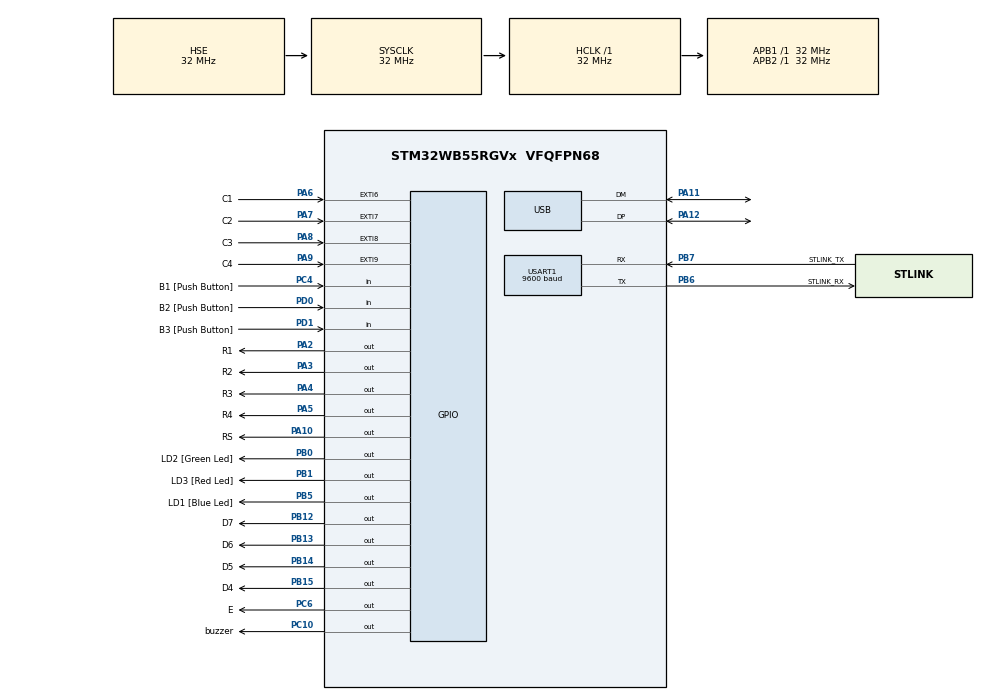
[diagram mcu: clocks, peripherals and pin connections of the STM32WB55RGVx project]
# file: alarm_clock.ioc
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Mcu.Family=STM32WB
Mcu.Name=STM32WB55RGVx
Mcu.Package=VFQFPN68
NVIC.EXTI9_5_IRQn=true\:0\:0\:false\:false\:true\:true\:true\:true
NVIC.PriorityGroup=NVIC_PRIORITYGROUP_4
NVIC.RTC_Alarm_IRQn=true\:0\:0\:false\:false\:true\:true\:true\:true
OSC_IN.Mode=HSE-External-Oscillator
OSC_IN.Signal=RCC_OSC_IN
OSC_OUT.Mode=HSE-External-Oscillator
OSC_OUT.Signal=RCC_OSC_OUT
PA10.GPIO_Label=RS
PA10.PinState=GPIO_PIN_RESET
PA10.Signal=GPIO_Output
PA11.Mode=Device
PA11.Signal=USB_DM
PA12.Mode=Device
PA12.Signal=USB_DP
PA13.GPIO_Label=JTMS
PA13.Mode=Trace_Asynchronous_SW
PA13.Signal=SYS_JTMS-SWDIO
PA14.GPIO_Label=JTCK
PA14.Mode=Trace_Asynchronous_SW
PA14.Signal=SYS_JTCK-SWCLK
PA2.GPIO_Label=R1
PA2.PinState=GPIO_PIN_SET
PA2.Signal=GPIO_Output
PA3.GPIO_Label=R2
PA3.PinState=GPIO_PIN_SET
PA3.Signal=GPIO_Output
PA4.GPIO_Label=R3
PA4.PinState=GPIO_PIN_SET
PA4.Signal=GPIO_Output
PA5.GPIO_Label=R4
PA5.PinState=GPIO_PIN_SET
PA5.Signal=GPIO_Output
PA6.GPIO_Label=C1
PA6.GPIO_PuPd=GPIO_PULLDOWN
PA6.Signal=GPXTI6
PA7.GPIO_Label=C2
PA7.GPIO_PuPd=GPIO_PULLDOWN
PA7.Signal=GPXTI7
PA8.GPIO_Label=C3
PA8.GPIO_PuPd=GPIO_PULLDOWN
PA8.Signal=GPXTI8
PA9.GPIO_Label=C4
PA9.GPIO_PuPd=GPIO_PULLDOWN
PA9.Signal=GPXTI9
PB0.GPIO_Label=LD2 [Green Led]
PB0.Signal=GPIO_Output
PB1.GPIO_Label=LD3 [Red Led]
PB1.Signal=GPIO_Output
PB12.GPIO_Label=D7
PB12.PinState=GPIO_PIN_RESET
PB12.Signal=GPIO_Output
PB13.GPIO_Label=D6
PB13.PinState=GPIO_PIN_RESET
PB13.Signal=GPIO_Output
PB14.GPIO_Label=D5
PB14.PinState=GPIO_PIN_RESET
PB14.Signal=GPIO_Output
PB15.GPIO_Label=D4
PB15.PinState=GPIO_PIN_RESET
PB15.Signal=GPIO_Output
PB3.GPIO_Label=JTDO
PB3.Mode=Trace_Asynchronous_SW
PB3.Signal=SYS_JTDO-SWO
PB5.GPIO_Label=LD1 [Blue Led]
PB5.Signal=GPIO_Output
PB6.GPIO_Label=STLINK_RX
PB6.GPIO_PuPd=GPIO_PULLUP
PB6.Mode=Asynchronous
PB6.Signal=USART1_TX
PB7.GPIO_Label=STLINK_TX
PB7.GPIO_PuPd=GPIO_PULLUP
PB7.Mode=Asynchronous
PB7.Signal=USART1_RX
PC10.GPIO_Label=buzzer
PC10.PinState=GPIO_PIN_RESET
PC10.Signal=GPIO_Output
PC13.Mode=SYS_WakeUp1
PC13.Signal=SYS_WKUP2
PC14-OSC32_IN.Mode=LSE-External-Oscillator
PC14-OSC32_IN.Signal=RCC_OSC32_IN
PC15-OSC32_OUT.Mode=LSE-External-Oscillator
PC15-OSC32_OUT.Signal=RCC_OSC32_OUT
PC4.GPIO_Label=B1 [Push Button]
PC4.Signal=GPIO_Input
PC6.GPIO_Label=E
PC6.PinState=GPIO_PIN_RESET
PC6.Signal=GPIO_Output
PD0.GPIO_Label=B2 [Push Button]
PD0.Signal=GPIO_Input
PD1.GPIO_Label=B3 [Push Button]
PD1.Signal=GPIO_Input
ProjectManager.HeapSize=0x200
ProjectManager.StackSize=0x400
ProjectManager.TargetToolchain=Makefile
RCC.ADCFreq_Value=48000000
RCC.AHBFreq_Value=32000000
RCC.APB1Freq_Value=32000000
RCC.APB1TimFreq_Value=32000000
RCC.APB2Freq_Value=32000000
RCC.APB2TimFreq_Value=32000000
RCC.APB3Freq_Value=16000000
RCC.CortexFreq_Value=32000000
RCC.HCLKFreq_Value=32000000
RCC.HSE_VALUE=32000000
RCC.HSI48_VALUE=48000000
RCC.HSI_VALUE=16000000
RCC.LSE_Drive_Capability=RCC_LSEDRIVE_LOW
RCC.PLLN=32
RCC.PLLSAI1N=24
RCC.SMPSCLockSelectionVirtual=RCC_SMPSCLKSOURCE_HSI
RCC.SMPSCLockSelectionVirtualVirtual=RCC_SMPSCLKSOURCE_HSI
RCC.SMPSDivider=1
RCC.SYSCLKFreq_VALUE=32000000
RCC.SYSCLKSource=RCC_SYSCLKSOURCE_HSE
RCC.USBFreq_Value=48000000
RCC.VCOOutputFreq_Value=128000000
RTC.Alarm-Alarm\ A=RTC_ALARM_A
RTC.AlarmDateWeekDaySel-Alarm\ A=RTC_ALARMDATEWEEKDAYSEL_DATE
RTC.AlarmMaskDateWeekDay-Alarm\ A=RTC_ALARMMASK_DATEWEEKDAY
RTC.HourFormat=RTC_HOURFORMAT_24
RTC.Minutes_A-Alarm\ A=2
TIM1.Period=0xffff-1
TIM1.Prescaler=31
USART1.BaudRate=9600
USART1.VirtualMode-Asynchronous=VM_ASYNC
USART1.WordLength=WORDLENGTH_8B
VP_RTC_VS_RTC_Activate.Mode=RTC_Enabled
VP_RTC_VS_RTC_Alarm_A_Intern.Mode=Alarm A
VP_RTC_VS_RTC_Calendar.Mode=RTC_Calendar
VP_TIM1_VS_ClockSourceINT.Mode=Internal
board=P-NUCLEO-WB55-NUCLEO

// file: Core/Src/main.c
/* USER CODE BEGIN Header */
/**
  ******************************************************************************
  * @file           : main.c
  * @brief          : Main program body
  ******************************************************************************
  * @attention
  *
  * Copyright (c) 2023 STMicroelectronics.
  * All rights reserved.
  *
  * This software is licensed under terms that can be found in the LICENSE file
  * in the root directory of this software component.
  * If no LICENSE file comes with this software, it is provided AS-IS.
  *
  ******************************************************************************
  */
/* USER CODE END Header */
#include "main.h"
#include "rtc.h"
#include "tim.h"
#include "usart.h"
#include "usb.h"
#include "gpio.h"

/* USER CODE BEGIN Includes */
#include <stdio.h>
#include <stdlib.h>
#include <string.h>
/* USER CODE END Includes */

/* USER CODE BEGIN PV */
GPIO_InitTypeDef myGPIO_InitStruct = {0};
uint32_t previousTimeInms = 0;
uint32_t currentTimeInms = 0;
uint8_t keyPressed = 0;
RTC_TimeTypeDef sTime;
RTC_DateTypeDef sDate;
RTC_AlarmTypeDef sAlarm = {0};
int state = 0b00000000;
int i = 0;
int alarmFlag = 0;
/* USER CODE END PV */

void SystemClock_Config(void);
void PeriphCommonClock_Config(void);
/* USER CODE BEGIN PFP */
void send_to_lcd (char data, int rs);
void lcd_send_cmd (char cmd);
void lcd_send_data (char data);
void lcd_put_cur(int row, int col);
void lcd_init (void);
void lcd_send_string (char *str);
void lcd_clear (void);
void delay (uint16_t us);
int convertASCIItoInt(char one, char two);
/* USER CODE END PFP */

int main(void)
{
  /* USER CODE BEGIN 1 */
  char msg[32];
  char input[4];
  /* USER CODE END 1 */

  /* MCU Configuration--------------------------------------------------------*/

  /* Reset of all peripherals, Initializes the Flash interface and the Systick. */
  HAL_Init();

  /* Configure the system clock */
  SystemClock_Config();

/* Configure the peripherals common clocks */
  PeriphCommonClock_Config();

  /* Initialize all configured peripherals */
  MX_GPIO_Init();
  MX_USART1_UART_Init();
  MX_USB_PCD_Init();
  MX_RTC_Init();
  MX_TIM1_Init();
  /* USER CODE BEGIN 2 */
  HAL_GPIO_WritePin(R1_GPIO_Port, R1_Pin, 1);
  HAL_GPIO_WritePin(R2_GPIO_Port, R2_Pin, 1);
  HAL_GPIO_WritePin(R3_GPIO_Port, R3_Pin, 1);
  HAL_GPIO_WritePin(R4_GPIO_Port, R4_Pin, 1);

  lcd_init();
  HAL_Delay(1);

  HAL_RTC_DeactivateAlarm(&hrtc, RTC_ALARM_A);

  /* USER CODE END 2 */

  /* Infinite loop */
  while (1)
  {

    /* USER CODE BEGIN 3 */

    //Enter Current Time State
    while(state == 0b00000000){
      if(i == 0){
        lcd_clear();
        HAL_Delay(1);
        sprintf(msg, "Enter Current");
        lcd_send_string(msg);
        lcd_put_cur(1, 0);
        HAL_Delay(1);
        sprintf(msg, "24hr:  Hr  Min");
        lcd_send_string(msg);
        HAL_Delay(1);
        i++;
      }

      if (keyPressed){
        if(i<3)
          lcd_put_cur(1, 4+i);
        else
          lcd_put_cur(1, 6+i);
        HAL_Delay(1);
        sprintf(msg, "%c", keyPressed);
        lcd_send_string(msg);
        HAL_Delay(1);
        input[i-1] = keyPressed;
        keyPressed = 0;
        i++;
      }
      if(i == 5){
        state = 0b00000001; // Next State is Check Current Time State
        i = 0;
      }
    }
    // Check Current Time State
    while(state == 0b00000001){
      if(i == 0){
        lcd_clear();
        HAL_Delay(1);
        sprintf(msg, "Time: %c%cHr %c%cMin",input[0],input[1],input[2],input[3]);
        lcd_send_string(msg);
        lcd_put_cur(1, 0);
        HAL_Delay(1);
        sprintf(msg, "Correct? Y-1 N-2");
        lcd_send_string(msg);
        i++;
      }
      if (keyPressed){
        if (keyPressed == 49){
          sTime.Hours = convertASCIItoInt(input[0], input[1]);
          sTime.Minutes = convertASCIItoInt(input[2], input[3]);
          sTime.Seconds = 0;
          HAL_RTC_SetTime(&hrtc,&sTime,RTC_FORMAT_BIN);
          state = 0b00000010; // Next State is Display Current Time State
          i = 0;
        }
        else if(keyPressed == 50){
          state = 0b00000000; // Next State is Enter Current Time State
          i = 0;
        }

        keyPressed = 0;
      }
    }
    // Display Current Time State
    while(state == 0b00000010){
      if(i == 0){
        lcd_clear();
        HAL_Delay(1);
        lcd_put_cur(1, 0);
        HAL_Delay(1);
        sprintf(msg, "Set Alm-1 Time-2" );
        lcd_send_string(msg);
        i++;
      }
      // Refresh Time Periodically for the Display
      lcd_put_cur(0, 0);
      HAL_Delay(1);
      HAL_RTC_GetTime(&hrtc, &sTime, RTC_FORMAT_BIN);
      HAL_RTC_GetDate(&hrtc, &sDate, RTC_FORMAT_BIN);
      HAL_RTC_GetAlarm(&hrtc,&sAlarm,RTC_ALARM_A,RTC_FORMAT_BIN);
      if(alarmFlag == 1)
        sprintf(msg,"Time:%02d.%02d.%02d %s",sTime.Hours,sTime.Minutes,sTime.Seconds, "ON");
      else
        sprintf(msg,"Time:%02d.%02d.%02d %s",sTime.Hours,sTime.Minutes,sTime.Seconds, "  ");
      lcd_send_string(msg);
      HAL_Delay(1);

      if (keyPressed){
        if (keyPressed == 49){
          state = 0b00000100; // Next State is Alarm Set State
          i = 0;
        }
        else if(keyPressed == 50){
          state = 0b00000000; // Next State is Enter Current Time State
          i = 0;
        }
        keyPressed = 0;
      }
    }
    // Alarm Set State
    while(state == 0b00000100){
      if(i == 0){
        lcd_clear();
        HAL_Delay(1);
        sprintf(msg, "Enter Alarm Time");
        lcd_send_string(msg);
        lcd_put_cur(1, 0);
        HAL_Delay(1);
        sprintf(msg, "24hr:  Hr  Min");
        lcd_send_string(msg);
        i++;
      }

      if (keyPressed){
        if(i<3)
          lcd_put_cur(1, 4+i);
        else
          lcd_put_cur(1, 6+i);
        HAL_Delay(1);
        sprintf(msg, "%c", keyPressed);
        lcd_send_string(msg);
        HAL_Delay(1);
        input[i-1] = keyPressed;
        keyPressed = 0;
        i++;
      }
      if(i == 5){
        state = 0b00001000; // Next State is Check Alarm Check State
        i = 0;
      }
    }
    // Alarm Check State
    while(state == 0b00001000){
      if(i == 0){
        lcd_clear();
        HAL_Delay(1);
        sprintf(msg, "Time: %c%cHr %c%cMin",input[0],input[1],input[2],input[3]);
        lcd_send_string(msg);
        lcd_put_cur(1, 0);
        HAL_Delay(1);
        sprintf(msg, "Correct? Y-1 N-2");
        lcd_send_string(msg);
        i++;
      }
      if (keyPressed){
        if (keyPressed == 49){
          sAlarm.AlarmTime.Hours = convertASCIItoInt(input[0], input[1]);
          sAlarm.AlarmTime.Minutes = convertASCIItoInt(input[2], input[3]);
          sAlarm.Alarm = RTC_ALARM_A;
          HAL_RTC_DeactivateAlarm(&hrtc, RTC_ALARM_A);
          HAL_RTC_SetAlarm_IT(&hrtc,&sAlarm,RTC_FORMAT_BIN);
          //HAL_RTC_
          state = 0b00000010; // Next State is Display Current Time State
          i = 0;
          alarmFlag = 1;
        }
        else if(keyPressed == 50){
          state = 0b00000100; // Next State is Enter Alarm Time State
          i = 0;
        }

        keyPressed = 0;
      }
    }
    // Alarm State
    while(state == 0b00010000){
      if(i == 0){
        lcd_clear();
        HAL_Delay(1);
        sprintf(msg, "Press Any Button" );
        lcd_send_string(msg);
        HAL_Delay(1);
        lcd_put_cur(1, 0);
        HAL_Delay(1);
        sprintf(msg, "to Disable" );
        lcd_send_string(msg);
        HAL_Delay(1);
        i++;
      }
      HAL_GPIO_WritePin(buzzer_GPIO_Port,buzzer_Pin, 1); // Turn on Buzzer

      if (keyPressed){
        state = 0b00000010; // Next State is Display Current Time State
        keyPressed = 0;
        HAL_GPIO_WritePin(buzzer_GPIO_Port,buzzer_Pin, 0); // Turn off Buzzer
        i = 0;
      }
    }

  }
  /* USER CODE END 3 */
}

void SystemClock_Config(void)
{
  RCC_OscInitTypeDef RCC_OscInitStruct = {0};
  RCC_ClkInitTypeDef RCC_ClkInitStruct = {0};

  /** Macro to configure the PLL multiplication factor
  */
  __HAL_RCC_PLL_PLLM_CONFIG(RCC_PLLM_DIV1);

  /** Macro to configure the PLL clock source
  */
  __HAL_RCC_PLL_PLLSOURCE_CONFIG(RCC_PLLSOURCE_MSI);

  /** Configure LSE Drive Capability
  */
  HAL_PWR_EnableBkUpAccess();
  __HAL_RCC_LSEDRIVE_CONFIG(RCC_LSEDRIVE_LOW);

  /** Configure the main internal regulator output voltage
  */
  __HAL_PWR_VOLTAGESCALING_CONFIG(PWR_REGULATOR_VOLTAGE_SCALE1);

  /** Initializes the RCC Oscillators according to the specified parameters
  * in the RCC_OscInitTypeDef structure.
  */
  RCC_OscInitStruct.OscillatorType = RCC_OSCILLATORTYPE_HSI|RCC_OSCILLATORTYPE_LSI1
                              |RCC_OSCILLATORTYPE_HSE|RCC_OSCILLATORTYPE_LSE
                              |RCC_OSCILLATORTYPE_MSI;
  RCC_OscInitStruct.HSEState = RCC_HSE_ON;
  RCC_OscInitStruct.LSEState = RCC_LSE_ON;
  RCC_OscInitStruct.HSIState = RCC_HSI_ON;
  RCC_OscInitStruct.MSIState = RCC_MSI_ON;
  RCC_OscInitStruct.HSICalibrationValue = RCC_HSICALIBRATION_DEFAULT;
  RCC_OscInitStruct.MSICalibrationValue = RCC_MSICALIBRATION_DEFAULT;
  RCC_OscInitStruct.MSIClockRange = RCC_MSIRANGE_6;
  RCC_OscInitStruct.LSIState = RCC_LSI_ON;
  RCC_OscInitStruct.PLL.PLLState = RCC_PLL_NONE;
  if (HAL_RCC_OscConfig(&RCC_OscInitStruct) != HAL_OK)
  {
    Error_Handler();
  }

  /** Configure the SYSCLKSource, HCLK, PCLK1 and PCLK2 clocks dividers
  */
  RCC_ClkInitStruct.ClockType = RCC_CLOCKTYPE_HCLK4|RCC_CLOCKTYPE_HCLK2
                              |RCC_CLOCKTYPE_HCLK|RCC_CLOCKTYPE_SYSCLK
                              |RCC_CLOCKTYPE_PCLK1|RCC_CLOCKTYPE_PCLK2;
  RCC_ClkInitStruct.SYSCLKSource = RCC_SYSCLKSOURCE_HSE;
  RCC_ClkInitStruct.AHBCLKDivider = RCC_SYSCLK_DIV1;
  RCC_ClkInitStruct.APB1CLKDivider = RCC_HCLK_DIV1;
  RCC_ClkInitStruct.APB2CLKDivider = RCC_HCLK_DIV1;
  RCC_ClkInitStruct.AHBCLK2Divider = RCC_SYSCLK_DIV1;
  RCC_ClkInitStruct.AHBCLK4Divider = RCC_SYSCLK_DIV1;

  if (HAL_RCC_ClockConfig(&RCC_ClkInitStruct, FLASH_LATENCY_1) != HAL_OK)
  {
    Error_Handler();
  }

  /** Enable MSI Auto calibration
  */
  HAL_RCCEx_EnableMSIPLLMode();
}

void PeriphCommonClock_Config(void)
{
  RCC_PeriphCLKInitTypeDef PeriphClkInitStruct = {0};

  /** Initializes the peripherals clock
  */
  PeriphClkInitStruct.PeriphClockSelection = RCC_PERIPHCLK_SMPS;
  PeriphClkInitStruct.SmpsClockSelection = RCC_SMPSCLKSOURCE_HSI;
  PeriphClkInitStruct.SmpsDivSelection = RCC_SMPSCLKDIV_RANGE0;

  if (HAL_RCCEx_PeriphCLKConfig(&PeriphClkInitStruct) != HAL_OK)
  {
    Error_Handler();
  }
}

/* USER CODE BEGIN 4 */
void HAL_GPIO_EXTI_Callback(uint16_t GPIO_Pin)
{
  currentTimeInms = HAL_GetTick();
  if (currentTimeInms - previousTimeInms > 100) {
    myGPIO_InitStruct.Pin = C1_Pin|C2_Pin|C3_Pin|C4_Pin;
    myGPIO_InitStruct.Mode = GPIO_MODE_INPUT;
    myGPIO_InitStruct.Pull = GPIO_PULLDOWN;
    myGPIO_InitStruct.Speed = GPIO_SPEED_FREQ_LOW;
    HAL_GPIO_Init(GPIOA, &myGPIO_InitStruct);

    HAL_GPIO_WritePin(R1_GPIO_Port, R1_Pin, 1);
    HAL_GPIO_WritePin(R2_GPIO_Port, R2_Pin, 0);
    HAL_GPIO_WritePin(R3_GPIO_Port, R3_Pin, 0);
    HAL_GPIO_WritePin(R4_GPIO_Port, R4_Pin, 0);

    if(GPIO_Pin == C1_Pin && HAL_GPIO_ReadPin(C1_GPIO_Port, C1_Pin))
    {
      keyPressed = 49; //ASCII value of 1
    }
    else if(GPIO_Pin == C2_Pin && HAL_GPIO_ReadPin(C2_GPIO_Port, C2_Pin))
    {
      keyPressed = 50; //ASCII value of 2
    }
    else if(GPIO_Pin == C3_Pin && HAL_GPIO_ReadPin(C3_GPIO_Port, C3_Pin))
    {
      keyPressed = 51; //ASCII value of 3
    }
    else if(GPIO_Pin == C4_Pin && HAL_GPIO_ReadPin(C4_GPIO_Port, C4_Pin))
    {
      keyPressed = 65; //ASCII value of A
    }

    HAL_GPIO_WritePin(R1_GPIO_Port, R1_Pin, 0);
    HAL_GPIO_WritePin(R2_GPIO_Port, R2_Pin, 1);
    HAL_GPIO_WritePin(R3_GPIO_Port, R3_Pin, 0);
    HAL_GPIO_WritePin(R4_GPIO_Port, R4_Pin, 0);

    if(GPIO_Pin == C1_Pin && HAL_GPIO_ReadPin(C1_GPIO_Port, C1_Pin))
    {
      keyPressed = 52; //ASCII value of 4
    }
    else if(GPIO_Pin == C2_Pin && HAL_GPIO_ReadPin(C2_GPIO_Port, C2_Pin))
    {
      keyPressed = 53; //ASCII value of 5
    }
    else if(GPIO_Pin == C3_Pin && HAL_GPIO_ReadPin(C3_GPIO_Port, C3_Pin))
    {
      keyPressed = 54; //ASCII value of 6
    }
    else if(GPIO_Pin == C4_Pin && HAL_GPIO_ReadPin(C4_GPIO_Port, C4_Pin))
    {
      keyPressed = 66; //ASCII value of B
    }

    HAL_GPIO_WritePin(R1_GPIO_Port, R1_Pin, 0);
    HAL_GPIO_WritePin(R2_GPIO_Port, R2_Pin, 0);
    HAL_GPIO_WritePin(R3_GPIO_Port, R3_Pin, 1);
    HAL_GPIO_WritePin(R4_GPIO_Port, R4_Pin, 0);

    if(GPIO_Pin == C1_Pin && HAL_GPIO_ReadPin(C1_GPIO_Port, C1_Pin))
    {
      keyPressed = 55; //ASCII value of 7
    }
    else if(GPIO_Pin == C2_Pin && HAL_GPIO_ReadPin(C2_GPIO_Port, C2_Pin))
    {
      keyPressed = 56; //ASCII value of 8
    }
    else if(GPIO_Pin == C3_Pin && HAL_GPIO_ReadPin(C3_GPIO_Port, C3_Pin))
    {
      keyPressed = 57; //ASCII value of 9
    }
    else if(GPIO_Pin == C4_Pin && HAL_GPIO_ReadPin(C4_GPIO_Port, C4_Pin))
    {
      keyPressed = 67; //ASCII value of C
    }

    HAL_GPIO_WritePin(R1_GPIO_Port, R1_Pin, 0);
    HAL_GPIO_WritePin(R2_GPIO_Port, R2_Pin, 0);
    HAL_GPIO_WritePin(R3_GPIO_Port, R3_Pin, 0);
    HAL_GPIO_WritePin(R4_GPIO_Port, R4_Pin, 1);

    if(GPIO_Pin == C1_Pin && HAL_GPIO_ReadPin(C1_GPIO_Port, C1_Pin))
    {
      keyPressed = 42; //ASCII value of *
    }
    else if(GPIO_Pin == C2_Pin && HAL_GPIO_ReadPin(C2_GPIO_Port, C2_Pin))
    {
      keyPressed = 48; //ASCII value of 0
    }
    else if(GPIO_Pin == C3_Pin && HAL_GPIO_ReadPin(C3_GPIO_Port, C3_Pin))
    {
      keyPressed = 35; //ASCII value of #
    }
    else if(GPIO_Pin == C4_Pin && HAL_GPIO_ReadPin(C4_GPIO_Port, C4_Pin))
    {
      keyPressed = 68; //ASCII value of D
    }

    HAL_GPIO_WritePin(R1_GPIO_Port, R1_Pin, 1);
    HAL_GPIO_WritePin(R2_GPIO_Port, R2_Pin, 1);
    HAL_GPIO_WritePin(R3_GPIO_Port, R3_Pin, 1);
    HAL_GPIO_WritePin(R4_GPIO_Port, R4_Pin, 1);

    /*Configure GPIO pins : PB6 PB7 PB8 PB9 back to EXTI*/
    myGPIO_InitStruct.Mode = GPIO_MODE_IT_RISING;
    myGPIO_InitStruct.Pull = GPIO_PULLDOWN;
    HAL_GPIO_Init(C1_GPIO_Port, &myGPIO_InitStruct);

    previousTimeInms = currentTimeInms;
  }
}

void send_to_lcd (char data, int rs)
{
    HAL_GPIO_WritePin(RS_GPIO_Port, RS_Pin, rs);  // rs = 1 for data, rs=0 for command
    /* write the data to the respective pin */
    HAL_GPIO_WritePin(D7_GPIO_Port, D7_Pin, ((data>>3)&0x01));
    HAL_GPIO_WritePin(D6_GPIO_Port, D6_Pin, ((data>>2)&0x01));
    HAL_GPIO_WritePin(D5_GPIO_Port, D5_Pin, ((data>>1)&0x01));
    HAL_GPIO_WritePin(D4_GPIO_Port, D4_Pin, ((data>>0)&0x01));
    /* Toggle EN PIN to send the data
     * if the HCLK > 100 MHz, use the  20 us delay
     * if the LCD still doesn't work, increase the delay to 50, 80 or 100..
     */
    HAL_GPIO_WritePin(E_GPIO_Port, E_Pin, 1);
  //delay (100);
    HAL_GPIO_WritePin(E_GPIO_Port, E_Pin, 0);
}

void lcd_send_cmd (char cmd)
{
    char datatosend;
    /* send upper nibble first */
    datatosend = ((cmd>>4)&0x0f);
    send_to_lcd(datatosend,0);  // RS must be while sending command
    /* send Lower Nibble */
    datatosend = ((cmd)&0x0f);
    send_to_lcd(datatosend, 0);
}

void lcd_send_data (char data)
{
    char datatosend;

    /* send higher nibble */
    datatosend = ((data>>4)&0x0f);
    send_to_lcd(datatosend, 1);  // rs =1 for sending data
    /* send Lower nibble */
    datatosend = ((data)&0x0f);
    send_to_lcd(datatosend, 1);
}

void lcd_put_cur(int row, int col)
{
    switch (row)
    {
        case 0:
            col |= 0x80;
            break;
        case 1:
            col |= 0xC0;
            break;
    }
    lcd_send_cmd (col);
}

void lcd_init (void)
{
    //4 bit initialisation
    HAL_Delay(500);  // wait for >40ms
    lcd_send_cmd (0x30);
    HAL_Delay(5);  // wait for >4.1ms
    lcd_send_cmd (0x30);
    HAL_Delay(1);  // wait for >100us
    lcd_send_cmd (0x30);
    HAL_Delay(10);
    lcd_send_cmd (0x20);  // 4bit mode
    HAL_Delay(10);

  // display initialisation
    lcd_send_cmd (0x28); // Function set --> DL=0 (4 bit mode), N = 1 (2 line display) F = 0 (5x8 characters)
    HAL_Delay(1);
    lcd_send_cmd (0x08); //Display on/off control --> D=0,C=0, B=0  ---> display off
    HAL_Delay(1);
    lcd_send_cmd (0x01);  // clear display
    HAL_Delay(1);
    lcd_send_cmd (0x06); //Entry mode set --> I/D = 1 (increment cursor) & S = 0 (no shift)
    HAL_Delay(1);
    lcd_send_cmd (0x0C); //Display on/off control --> D = 1, C and B = 0. (Cursor and blink, last two bits)
    HAL_Delay(1);
}

void lcd_send_string (char *str)
{
  int i = 0;

	while (i < strlen(str))
  {
    lcd_send_data (str[i]);
    HAL_Delay(1);
    i++;
  }
}

void lcd_clear (void)
{
	lcd_send_cmd(0x01);
	HAL_Delay(2);
}

void delay (uint16_t us)
{
  __HAL_TIM_SET_COUNTER(&htim1, 0);
  while (__HAL_TIM_GET_COUNTER(&htim1) < us);
}

int convertASCIItoInt(char one, char two)
{
  int digit1 = one - '0';
  int digit2 = two - '0';
  int result = digit1 * 10 + digit2;
  return result;
}

void HAL_RTC_AlarmAEventCallback(RTC_HandleTypeDef *hrtc)
{
    state = 0b00010000; // enter alarm state
    i = 0;
}

/* USER CODE END 4 */

void Error_Handler(void)
{
  __disable_irq();
  while (1)
  {
  }
}
